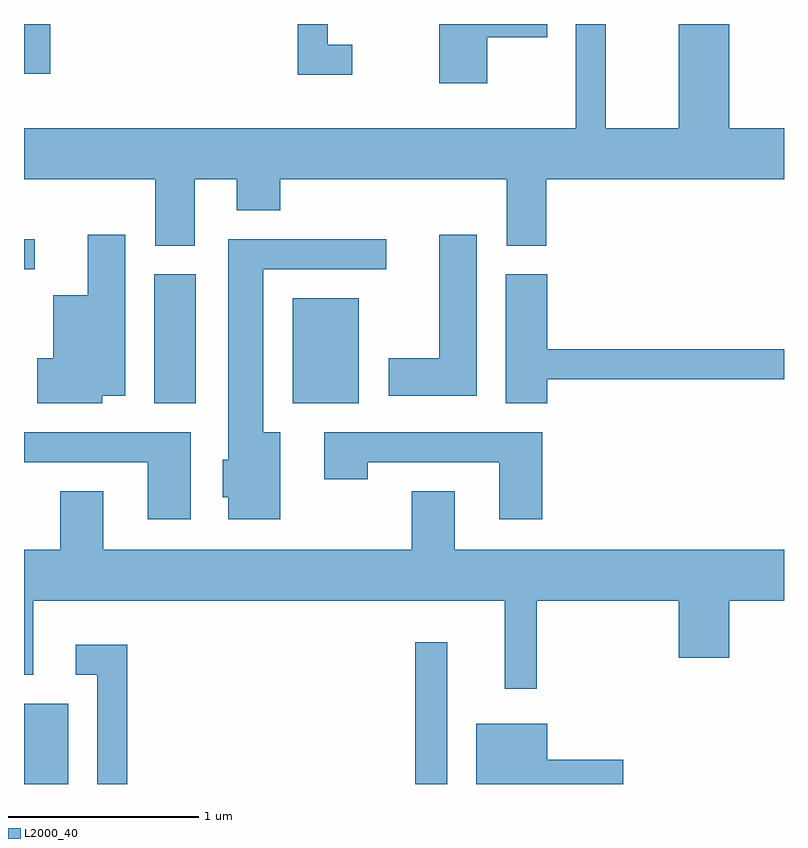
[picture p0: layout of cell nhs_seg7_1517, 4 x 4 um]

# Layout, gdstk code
import gdstk
lib = gdstk.Library(unit=1e-6, precision=1e-09)
def R(c, l, rs):  # rectangles x0, y0, x1, y1
    for r in rs: c.add(gdstk.rectangle(r[:2], r[2:], *l))
def P(c, l, *ps):  # polygons
    for p in ps: c.add(gdstk.Polygon(p, *l))
L2000_40 = (2000, 40)

nhs_seg7_1517 = lib.new_cell('nhs_seg7_1517')
R(nhs_seg7_1517, L2000_40, [(231.611,1702.252,231.844,1702.674), (233.671,1702.252,233.839,1702.998), (232.296,1704.256,232.514,1704.934), (233.026,1704.256,233.374,1704.809), (231.611,1704.961,231.668,1705.119), (231.611,1705.991,231.749,1706.252)])
P(nhs_seg7_1517, L2000_40, [(233.338,1706.144),(233.209,1706.144),(233.209,1706.252),(233.051,1706.252),(233.051,1705.986),(233.338,1705.986)],
  [(234.049,1706.181),(234.364,1706.181),(234.364,1706.252),(233.796,1706.252),(233.796,1705.941),(234.049,1705.941)],
  [(231.611,1705.436),(232.301,1705.436),(232.301,1705.086),(232.509,1705.086),(232.509,1705.436),(232.731,1705.436),(232.731,1705.271),(232.959,1705.271),(232.959,1705.436),(234.151,1705.436),(234.151,1705.086),(234.359,1705.086),(234.359,1705.436),(235.611,1705.436),(235.611,1705.704),(235.324,1705.704),(235.324,1706.252),(235.056,1706.252),(235.056,1705.704),(234.674,1705.704),(234.674,1706.252),(234.516,1706.252),(234.516,1705.704),(231.611,1705.704)],
  [(233.994,1705.144),(233.796,1705.144),(233.796,1704.494),(233.531,1704.494),(233.531,1704.296),(233.994,1704.296)],
  [(232.024,1704.296),(232.144,1704.296),(232.144,1705.144),(231.946,1705.144),(231.946,1704.824),(231.766,1704.824),(231.766,1704.494),(231.681,1704.494),(231.681,1704.256),(232.024,1704.256)],
  [(232.959,1704.104),(232.869,1704.104),(232.869,1704.961),(233.518,1704.961),(233.518,1705.119),(232.686,1705.119),(232.686,1703.959),(232.656,1703.959),(232.656,1703.761),(232.686,1703.761),(232.686,1703.646),(232.959,1703.646)],
  [(234.364,1704.381),(235.611,1704.381),(235.611,1704.539),(234.364,1704.539),(234.364,1704.934),(234.146,1704.934),(234.146,1704.256),(234.364,1704.256)],
  [(234.339,1704.104),(233.191,1704.104),(233.191,1703.856),(233.419,1703.856),(233.419,1703.946),(234.111,1703.946),(234.111,1703.646),(234.339,1703.646)],
  [(232.489,1704.104),(231.611,1704.104),(231.611,1703.946),(232.261,1703.946),(232.261,1703.646),(232.489,1703.646)],
  [(234.141,1702.753),(234.309,1702.753),(234.309,1703.216),(235.056,1703.216),(235.056,1702.916),(235.324,1702.916),(235.324,1703.216),(235.611,1703.216),(235.611,1703.484),(233.879,1703.484),(233.879,1703.794),(233.651,1703.794),(233.651,1703.484),(232.029,1703.484),(232.029,1703.794),(231.801,1703.794),(231.801,1703.484),(231.611,1703.484),(231.611,1702.826),(231.659,1702.826),(231.659,1703.216),(234.141,1703.216)],
  [(232.154,1702.984),(231.883,1702.984),(231.883,1702.826),(231.996,1702.826),(231.996,1702.252),(232.154,1702.252)],
  [(234.764,1702.379),(234.364,1702.379),(234.364,1702.569),(233.991,1702.569),(233.991,1702.252),(234.764,1702.252)])

lib.write_gds('nhs_seg7_1517.gds')
